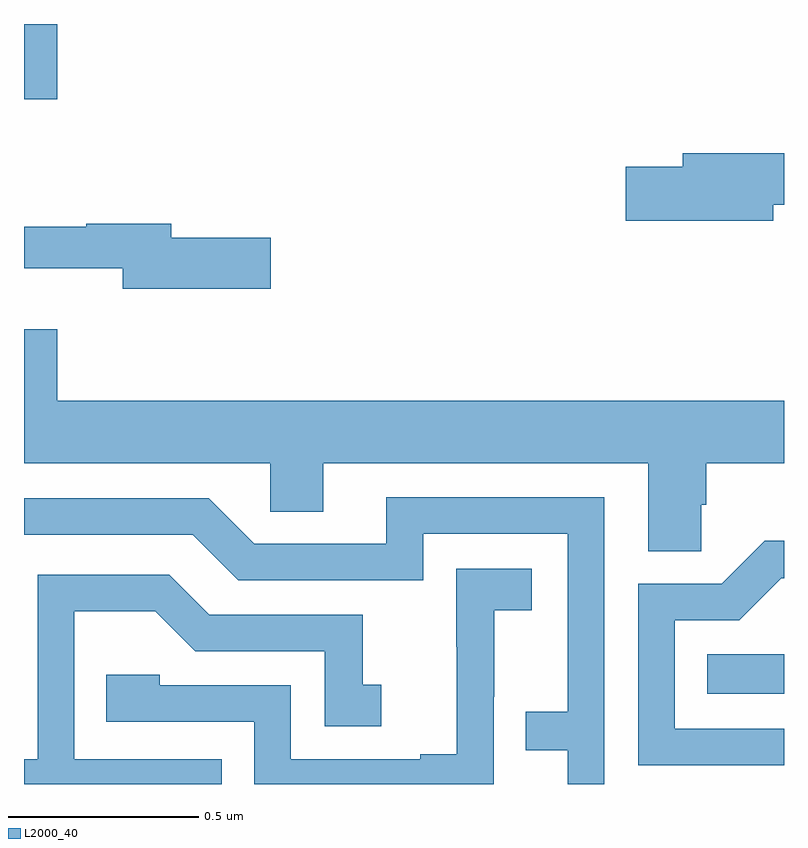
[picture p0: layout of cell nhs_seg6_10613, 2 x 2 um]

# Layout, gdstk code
import gdstk
lib = gdstk.Library(unit=1e-6, precision=1e-09)
def R(c, l, rs):  # rectangles x0, y0, x1, y1
    for r in rs: c.add(gdstk.rectangle(r[:2], r[2:], *l))
def P(c, l, *ps):  # polygons
    for p in ps: c.add(gdstk.Polygon(p, *l))
L2000_40 = (2000, 40)

nhs_seg6_10613 = lib.new_cell('nhs_seg6_10613')
R(nhs_seg6_10613, L2000_40, [(250.798,938.738,251,938.842), (249,940.302,249.088,940.5)])
P(nhs_seg6_10613, L2000_40, [(250.972,940.024),(251,940.024),(251,940.16),(250.733,940.16),(250.733,940.124),(250.584,940.124),(250.584,939.982),(250.972,939.982)],
  [(249.649,939.938),(249.388,939.938),(249.388,939.974),(249.164,939.974),(249.164,939.967),(249,939.967),(249,939.857),(249.26,939.857),(249.26,939.803),(249.649,939.803)],
  [(250.782,939.235),(250.796,939.235),(250.796,939.344),(251,939.344),(251,939.508),(249.088,939.508),(249.088,939.697),(249,939.697),(249,939.344),(249.648,939.344),(249.648,939.217),(249.787,939.217),(249.787,939.344),(250.643,939.344),(250.643,939.112),(250.782,939.112)],
  [(250.527,939.255),(249.953,939.255),(249.953,939.132),(249.606,939.132),(249.486,939.252),(249,939.252),(249,939.156),(249.444,939.156),(249.564,939.036),(250.05,939.036),(250.05,939.159),(250.431,939.159),(250.431,938.69),(250.321,938.69),(250.321,938.589),(250.431,938.589),(250.431,938.5),(250.527,938.5)],
  [(251,938.646),(250.713,938.646),(250.713,938.931),(250.882,938.931),(250.993,939.042),(251,939.042),(251,939.14),(250.949,939.14),(250.836,939.027),(250.617,939.027),(250.617,938.55),(251,938.55)],
  [(250.236,938.729),(250.238,938.729),(250.238,938.957),(250.336,938.957),(250.336,939.067),(250.138,939.067),(250.138,938.861),(250.139,938.861),(250.139,938.578),(250.043,938.578),(250.043,938.565),(249.702,938.565),(249.702,938.76),(249.357,938.76),(249.357,938.787),(249.217,938.787),(249.217,938.664),(249.606,938.664),(249.606,938.5),(250.236,938.5)],
  [(249.521,938.565),(249.132,938.565),(249.132,938.954),(249.346,938.954),(249.45,938.85),(249.792,938.85),(249.792,938.652),(249.94,938.652),(249.94,938.761),(249.891,938.761),(249.891,938.946),(249.487,938.946),(249.382,939.051),(249.036,939.051),(249.036,938.565),(249,938.565),(249,938.5),(249.521,938.5)])

lib.write_gds('nhs_seg6_10613.gds')
